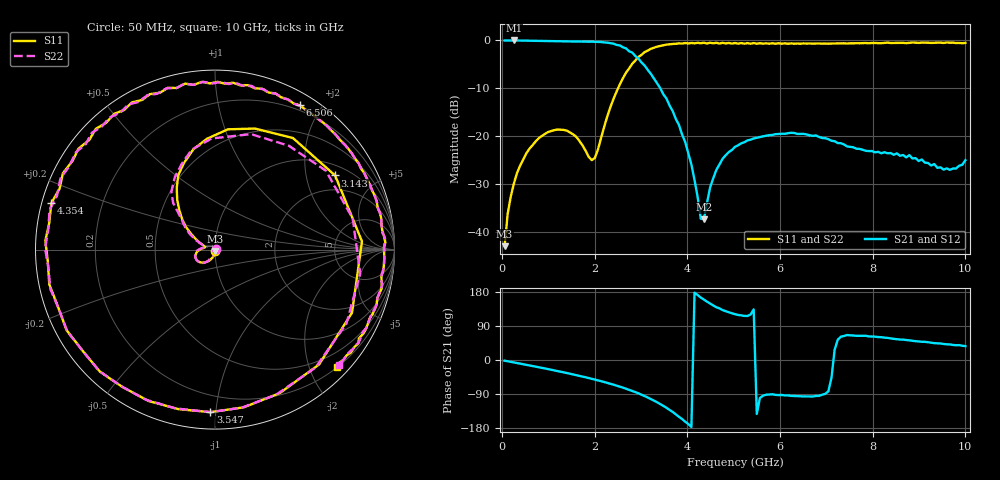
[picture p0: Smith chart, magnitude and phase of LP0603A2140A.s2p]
!	AVX THIN FILM OPERATION
!	LP0603 LOW PASS FILTERS
!	P/N LP0603A2140ALTR
!	Network	Analyzer	HP8720ES.07.64:	Feb	"23,"	2000	Serial	No.	US39172382
!	Hewlett-Packard
!	2	Feb	2004	02:33:11
!	Frequency	S11	S21	S12	S22
#	HZ	S	DB	R	50
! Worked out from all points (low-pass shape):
!   149 points, 50 MHz to 10 GHz, reference 50 ohm
!   highest |S21| = 0.01 dB at 251.8 MHz (marker M1); lowest = -37.3 dB at 4.354 GHz (marker M2)
!   |S21| within 3 dB of the highest: start of sweep to 2.851 GHz
!   lowest |S11| = -42.9 dB at 50 MHz (marker M3), VSWR 1.01, Z = 50.1 - j0.708 ohm
!   |S11| at or under -10 dB: start of sweep to 2.499 GHz
!   |S22| runs from -42.9 to -0.4 dB; largest |S21 - S12| = 0.021
!   S11 on the Smith chart (normalised r, x): 50 MHz: 1.00, -0.01; 3.143 GHz: 1.36, +2.95; 3.547 GHz: 0.10, -0.97; 4.354 GHz: 0.03, +0.14; 6.506 GHz: 0.14, +1.74; 10 GHz: 0.21, -2.46
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5e7  -42.88 -79.8  0.00 -1.9  0.00 -1.8  -42.88 16.1
2.5175e8  -29.78 -101.0  0.01 -6.5  0.01 -6.4  -29.78 -105.1
9.915e8  -19.07 -141.7  -0.11 -24.1  -0.11 -24.1  -19.07 -139.3
1.73125e9  -21.85 178.4  -0.24 -43.6  -0.24 -43.4  -21.85 176.0
2.00025e9  -24.48 163.0  -0.27 -51.7  -0.27 -52.2  -24.48 164.3
2.74e9  -5.82 109.8  -2.25 -78.6  -2.25 -78.7  -5.82 111.3
2.94175e9  -3.43 83.9  -3.78 -88.0  -3.78 -88.9  -3.43 72.7
3.07625e9  -2.40 55.1  -5.25 -95.2  -5.25 -94.8  -2.40 35.4
3.1435e9  -2.09 31.7  -6.14 -99.0  -6.14 -99.2  -2.09 12.7
3.278e9  -1.51 -24.7  -7.94 -107.1  -7.94 -107.3  -1.51 -29.5
3.4125e9  -1.14 -65.7  -9.96 -116.2  -9.96 -116.8  -1.14 -67.3
3.547e9  -0.86 -91.6  -12.12 -126.2  -12.12 -125.9  -0.86 -91.5
3.9505e9  -0.53 -151.5  -21.15 -162.8  -21.15 -164.7  -0.53 -151.0
4.28675e9  -0.58 170.7  -37.16 164.7  -37.16 162.0  -0.58 172.8
4.354e9  -0.47 164.1  -37.26 159.6  -37.26 154.1  -0.47 166.5
4.623e9  -0.48 143.6  -26.99 139.3  -26.99 137.0  -0.48 145.1
5.0265e9  -0.52 119.4  -22.17 120.9  -22.17 120.7  -0.52 120.8
5.699e9  -0.59 89.0  -19.86 -91.7  -19.86 -90.0  -0.59 87.8
6.506e9  -0.60 59.4  -19.46 -96.0  -19.46 -100.1  -0.60 58.8
6.70775e9  -0.66 52.5  -19.88 -96.3  -19.88 -92.7  -0.66 51.7
8.389e9  -0.52 0.6  -23.46 57.0  -23.46 55.0  -0.52 1.0
1.0003e10  -0.51 -44.0  -24.96 36.6  -24.96 33.9  -0.51 -43.1
